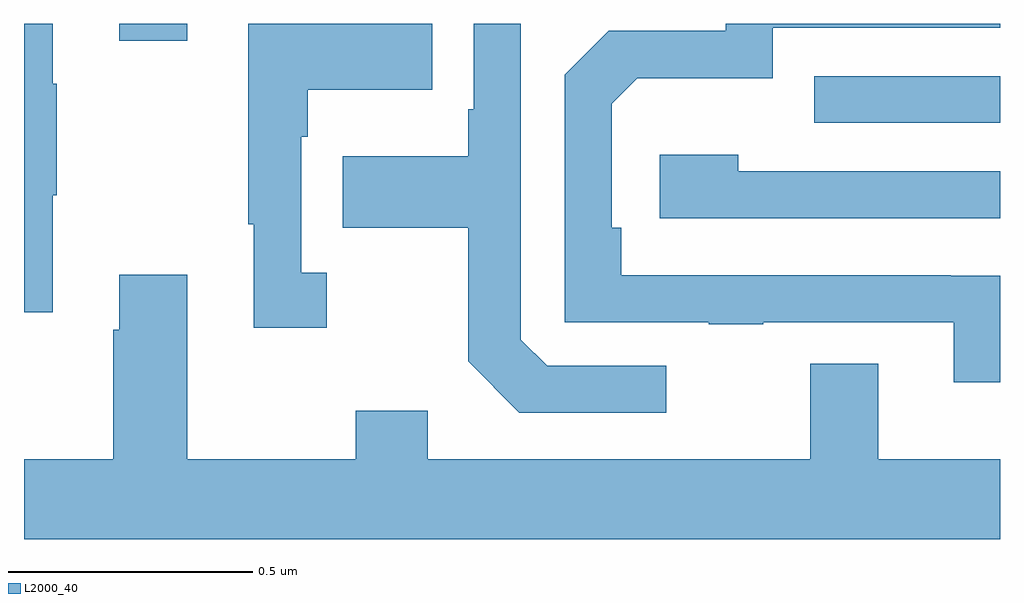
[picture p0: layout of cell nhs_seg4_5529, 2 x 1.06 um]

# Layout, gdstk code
import gdstk
lib = gdstk.Library(unit=1e-6, precision=1e-09)
def R(c, l, rs):  # rectangles x0, y0, x1, y1
    for r in rs: c.add(gdstk.rectangle(r[:2], r[2:], *l))
def P(c, l, *ps):  # polygons
    for p in ps: c.add(gdstk.Polygon(p, *l))
L2000_40 = (2000, 40)

nhs_seg4_5529 = lib.new_cell('nhs_seg4_5529')
R(nhs_seg4_5529, L2000_40, [(180.619,773.697,181,773.793), (179.195,773.865,179.335,773.9)])
P(nhs_seg4_5529, L2000_40, [(180.316,773.199),(180.072,773.199),(180.018,773.253),(180.018,773.9),(179.922,773.9),(179.922,773.725),(179.91,773.725),(179.91,773.629),(179.653,773.629),(179.653,773.482),(179.91,773.482),(179.91,773.209),(180.015,773.103),(180.316,773.103)],
  [(179.059,773.549),(179.067,773.549),(179.067,773.777),(179.059,773.777),(179.059,773.9),(179,773.9),(179,773.309),(179.059,773.309)],
  [(181,773.384),(180.899,773.384),(180.899,773.385),(180.224,773.385),(180.224,773.482),(180.204,773.482),(180.204,773.736),(180.257,773.789),(180.534,773.789),(180.534,773.892),(181,773.892),(181,773.9),(180.438,773.9),(180.438,773.886),(180.198,773.886),(180.108,773.796),(180.108,773.289),(180.403,773.289),(180.403,773.284),(180.515,773.284),(180.515,773.289),(180.905,773.289),(180.905,773.166),(181,773.166)],
  [(179.62,773.39),(179.568,773.39),(179.568,773.669),(179.581,773.669),(179.581,773.765),(179.837,773.765),(179.837,773.9),(179.46,773.9),(179.46,773.489),(179.471,773.489),(179.471,773.277),(179.62,773.277)],
  [(181,773.598),(180.464,773.598),(180.464,773.632),(180.303,773.632),(180.303,773.502),(181,773.502)],
  [(181,773.008),(180.751,773.008),(180.751,773.203),(180.611,773.203),(180.611,773.008),(179.827,773.008),(179.827,773.107),(179.68,773.107),(179.68,773.008),(179.335,773.008),(179.335,773.386),(179.195,773.386),(179.195,773.273),(179.183,773.273),(179.183,773.008),(179,773.008),(179,772.844),(181,772.844)])

lib.write_gds('nhs_seg4_5529.gds')
